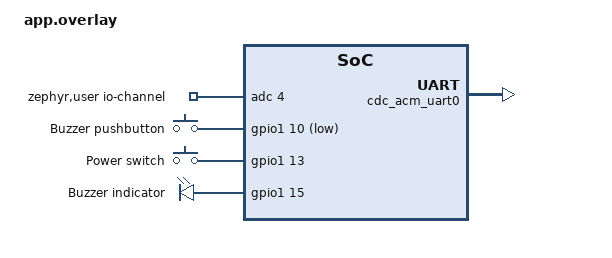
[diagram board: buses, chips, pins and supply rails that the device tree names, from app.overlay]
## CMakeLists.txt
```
# SPDX-License-Identifier: Apache-2.0

cmake_minimum_required(VERSION 3.20.0)
find_package(Zephyr REQUIRED HINTS $ENV{ZEPHYR_BASE})
project(firmware)

FILE(GLOB app_sources src/*.c)
target_sources(app PRIVATE ${app_sources})
```

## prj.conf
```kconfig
CONFIG_USB_DEVICE_STACK=y
CONFIG_USB_DEVICE_PRODUCT="Quizzer Buzzer"

CONFIG_SERIAL=y
CONFIG_CONSOLE=y
CONFIG_UART_CONSOLE=y
CONFIG_UART_LINE_CTRL=y

CONFIG_BT=y
CONFIG_BT_DEBUG_LOG=y
CONFIG_BT_SMP=y
CONFIG_BT_PERIPHERAL=y
CONFIG_BT_DIS=y
CONFIG_BT_DIS_PNP=n
CONFIG_BT_BAS=y
CONFIG_BT_HRS=y
CONFIG_BT_DEVICE_NAME="Quizzer Buzzer"
CONFIG_BT_DEVICE_APPEARANCE=833

CONFIG_ADC=y
```

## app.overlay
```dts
/*
 * Copyright (c) 2021 Nordic Semiconductor ASA
 *
 * SPDX-License-Identifier: Apache-2.0
 */

/ {
	chosen {
		zephyr,console = &cdc_acm_uart0;
	};
	zephyr,user {
		io-channels = <&adc 4>;
	 };
	buttons {
		compatible = "gpio-keys";
		button1: button_1 {
			gpios = <&gpio1 10 (GPIO_PULL_UP | GPIO_ACTIVE_LOW)>;
			label = "Buzzer pushbutton";
		};
		pwrsw0: pwrsw_0 {
			gpios = <&gpio1 13 0>;
			label = "Power switch";
		};
	};
	leds {
		compatible = "gpio-leds";
		led2_red: led_4 {
			gpios = <&gpio1 15 GPIO_ACTIVE_HIGH>;
			label = "Buzzer indicator";
		};
	};

	aliases {
		sw1 = &button1;
		psw0 = &pwrsw0;
		led1 = &led2_red;
	};

 };

&zephyr_udc0 {
	cdc_acm_uart0: cdc_acm_uart0 {
		compatible = "zephyr,cdc-acm-uart";
		label = "CDC_ACM_0";
	};
};
```

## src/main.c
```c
/*
 * Copyright (c) 2016 Intel Corporation.
 *
 * SPDX-License-Identifier: Apache-2.0
 */

#include "app.h"
#include "battery.h"

#include <usb/usb_device.h>
#include <drivers/uart.h>

BUILD_ASSERT(DT_NODE_HAS_COMPAT(DT_CHOSEN(zephyr_console), zephyr_cdc_acm_uart),
	     "Console device is not ACM CDC UART device");

void app_process();

void main(void)
{
	if (!pwr_init())
		NVIC_SystemReset();

#ifdef DEBUG
	if (usb_enable(NULL)) {
		return;
	}
	printk("[MAIN] USB initialized\n");

	// Wait for debug port to be opened
	const struct device *dev = DEVICE_DT_GET(DT_CHOSEN(zephyr_console));
	uint32_t dtr = 0;
	while (!dtr) {
		uart_line_ctrl_get(dev, UART_LINE_CTRL_DTR, &dtr);
		k_sleep(K_MSEC(100));
	}
#endif

	if (!ble_init())
		NVIC_SystemReset();
	if (!button_init())
		NVIC_SystemReset();
	if (!led_init())
		NVIC_SystemReset();
	if (!battery_init())
		NVIC_SystemReset();

	while (app_is_alive())
	{
		app_process();
		battery_process();
		led_process();

		// Get back to sleep for 100ms
		k_sleep(K_MSEC(100));
	}

	printk("[MAIN] Shutting down\n");
	led_set(false);
	if (!pwr_down())
		NVIC_SystemReset();

	// For non patched modules
	k_sleep(K_MSEC(5000));
}

static unsigned long app_timeout = KEEPALIVE_UNCONNECTED;
void app_reset_keep_alive(unsigned long timeout)
{
	app_timeout = timeout;
}

void app_process()
{
	static char prescaler = 10; // App tick is 100ms

	prescaler--;
	if (!prescaler) {
		prescaler = 10;
		if (app_timeout)
			app_timeout--;
	}
}

bool app_is_alive()
{
	return app_timeout != 0;
}
```

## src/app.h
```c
#include <zephyr.h>
#include <sys/printk.h>

// When you define this, program will wait for USB port to be opened early in firmware
//#define DEBUG

#define KEEPALIVE_UNCONNECTED   30      // 30 seconds
#define KEEPALIVE_CONNECTED     1800    // 30 minutes
void app_reset_keep_alive();
bool app_is_alive();

bool button_init(void);

bool ble_init(void);
bool ble_is_connected(void);
void ble_button_notify(void);
void ble_battery_notify(uint8_t centivolts);

#define BATTERY_SAMPLE_INTERVAL 300 // 30s
bool battery_init(void);
void battery_process(void);
int battery_sample(void); // Returns value in mV or negative value for errors

#define LED_BLINK_INTERVAL       5 // 500ms
#define LED_BLINK_CYCLES_DFLT    5 // 5 seconds total
bool led_init(void);
void led_set(bool on);
void led_activate(uint8_t cycles);
void led_process(void);

bool pwr_init(void);
bool pwr_down(void);
```

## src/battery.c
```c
/*
 * Copyright (c) 2018-2019 Peter Bigot Consulting, LLC
 * Copyright (c) 2019-2020 Nordic Semiconductor ASA
 *
 * SPDX-License-Identifier: Apache-2.0
 */

#include "app.h"
#include <math.h>
#include <stdio.h>
#include <stdlib.h>

#include <init.h>
#include <drivers/adc.h>

#define ZEPHYR_USER DT_PATH(zephyr_user)

#define BATTERY_ADC_GAIN ADC_GAIN_1_6

struct divider_data
{
	const struct device *adc;
	struct adc_channel_cfg adc_cfg;
	struct adc_sequence adc_seq;
	int16_t raw;
};
static struct divider_data divider_data =
{
	.adc = DEVICE_DT_GET(DT_IO_CHANNELS_CTLR(ZEPHYR_USER)),
};

static bool battery_inited = false;
static unsigned int battery_prescaler = 0;

bool battery_init(void)
{
	struct divider_data *ddp = &divider_data;
	struct adc_sequence *asp = &ddp->adc_seq;
	struct adc_channel_cfg *accp = &ddp->adc_cfg;

	if (!device_is_ready(ddp->adc))
	{
		printk("[BAT] ADC device is not ready\n");
		return -ENOENT;
	}

	*asp = (struct adc_sequence)
	{
		.channels = BIT(0),
		.buffer = &ddp->raw,
		.buffer_size = sizeof(ddp->raw),
		.oversampling = 4,
		.calibrate = true,
		.resolution = 14,
	};

	*accp = (struct adc_channel_cfg){
		.gain = BATTERY_ADC_GAIN,
		.reference = ADC_REF_INTERNAL,
		.acquisition_time = ADC_ACQ_TIME(ADC_ACQ_TIME_MICROSECONDS, 40),
		.input_positive = SAADC_CH_PSELP_PSELP_VDD,
	};

	if (adc_channel_setup(ddp->adc, accp))
	{
		printk("[BAT] ADC setup failed\n");
		return false;
	}
	battery_inited = true;
	printk("[BAT] Battery measurement initialized\n");
	return true;
}

int battery_sample(void)
{
	int rc = -ENOENT;

	if (battery_inited)
	{
		struct divider_data *ddp = &divider_data;
		struct adc_sequence *sp = &ddp->adc_seq;

		rc = adc_read(ddp->adc, sp);
		sp->calibrate = false;
		if (rc == 0) {
			int32_t val = ddp->raw;

			adc_raw_to_millivolts(adc_ref_internal(ddp->adc),
					      ddp->adc_cfg.gain,
					      sp->resolution,
					      &val);

			rc = val;
		}
	}

	return rc;
}

void battery_process(void)
{
	int batt_mV;
	uint8_t batt_cV;

	if (!battery_prescaler)
	{
		battery_prescaler = BATTERY_SAMPLE_INTERVAL;
		// Sample battery voltage
		batt_mV = battery_sample();
		if (batt_mV > 0)
		{
			batt_cV = (uint8_t)(batt_mV / 100);
			ble_battery_notify(batt_cV);
		}
		else
			printk("Failed to read battery voltage: %d\n", batt_mV);
	}
	battery_prescaler--;
}
```

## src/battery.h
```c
/*
 * Copyright (c) 2018-2019 Peter Bigot Consulting, LLC
 *
 * SPDX-License-Identifier: Apache-2.0
 */

#ifndef APPLICATION_BATTERY_H_
#define APPLICATION_BATTERY_H_

bool battery_setup(void);

/** Enable or disable measurement of the battery voltage.
 *
 * @param enable true to enable, false to disable
 *
 * @return zero on success, or a negative error code.
 */
int battery_measure_enable(bool enable);

/** Measure the battery voltage.
 *
 * @return the battery voltage in millivolts, or a negative error
 * code.
 */
int battery_sample(void);

/** A point in a battery discharge curve sequence.
 *
 * A discharge curve is defined as a sequence of these points, where
 * the first point has #lvl_pptt set to 10000 and the last point has
 * #lvl_pptt set to zero.  Both #lvl_pptt and #lvl_mV should be
 * monotonic decreasing within the sequence.
 */
struct battery_level_point {
	/** Remaining life at #lvl_mV. */
	uint16_t lvl_pptt;

	/** Battery voltage at #lvl_pptt remaining life. */
	uint16_t lvl_mV;
};

/** Calculate the estimated battery level based on a measured voltage.
 *
 * @param batt_mV a measured battery voltage level.
 *
 * @param curve the discharge curve for the type of battery installed
 * on the system.
 *
 * @return the estimated remaining capacity in parts per ten
 * thousand.
 */
unsigned int battery_level_pptt(unsigned int batt_mV,
				const struct battery_level_point *curve);

#endif /* APPLICATION_BATTERY_H_ */
```

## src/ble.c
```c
#include "app.h"

#include <sys/byteorder.h>

#include <bluetooth/bluetooth.h>
#include <bluetooth/hci.h>
#include <bluetooth/hci_vs.h>
#include <bluetooth/conn.h>
#include <bluetooth/uuid.h>
#include <bluetooth/gatt.h>
#include <bluetooth/services/bas.h>

static struct bt_conn *default_conn = NULL;
static uint16_t default_conn_handle;
static void get_tx_power(uint8_t handle_type, uint16_t handle, int8_t *tx_pwr_lvl);
static void set_tx_power(uint8_t handle_type, uint16_t handle, int8_t tx_pwr_lvl);

#define MYBT_UUID_BTN_VAL			0x4242 // Custom service ID
#define MYBT_UUID_BUTTON_PRESSED	0x4243 // Custom characteristic ID
#define MYBT_UUID_LED_ACTIVATE		0x4244 // Custom characteristic ID

static const struct bt_data ad[] = {
	BT_DATA_BYTES(BT_DATA_FLAGS, (BT_LE_AD_GENERAL | BT_LE_AD_NO_BREDR)),
	BT_DATA_BYTES(BT_DATA_UUID16_ALL,
		      BT_UUID_16_ENCODE(MYBT_UUID_BTN_VAL),
		      BT_UUID_16_ENCODE(BT_UUID_BAS_VAL)
			  )
};

static bool ble_button_notify_enabled = false;
static void ble_button_ccc_cfg_changed(const struct bt_gatt_attr *attr,
				       uint16_t value)
{
	ARG_UNUSED(attr);
	ble_button_notify_enabled = (value == BT_GATT_CCC_NOTIFY);
	printk("[BLE] Button notifications %s\n", ble_button_notify_enabled ? "enabled" : "disabled");
}

static ssize_t ble_button_read_level(struct bt_conn *conn,
			       const struct bt_gatt_attr *attr, void *buf,
			       uint16_t len, uint16_t offset)
{
	printk("[BLE] Button level was read\n");
	return bt_gatt_attr_read(conn, attr, buf, len, offset, NULL, 0);
}

ssize_t ble_led_activate(struct bt_conn *conn,
			       const struct bt_gatt_attr *attr, const void *buf,
			       uint16_t len, uint16_t offset, uint8_t flags)
{
	printk("[BLE] Led was activated\n");
	if (len < 1)
		led_activate(LED_BLINK_CYCLES_DFLT);
	else
	{
		unsigned char *val = (unsigned char *)buf;
		led_activate(val[0]);
	}
	return len;
}

BT_GATT_SERVICE_DEFINE(ble_button_svc,
	BT_GATT_PRIMARY_SERVICE(BT_UUID_DECLARE_16(MYBT_UUID_BTN_VAL)),
	BT_GATT_CHARACTERISTIC(BT_UUID_DECLARE_16(MYBT_UUID_BUTTON_PRESSED),
			       BT_GATT_CHRC_READ | BT_GATT_CHRC_NOTIFY,
			       BT_GATT_PERM_READ, ble_button_read_level, NULL,
			       NULL),
	BT_GATT_CCC(ble_button_ccc_cfg_changed,
		    BT_GATT_PERM_READ | BT_GATT_PERM_WRITE),
	BT_GATT_CHARACTERISTIC(BT_UUID_DECLARE_16(MYBT_UUID_LED_ACTIVATE),
			       BT_GATT_CHRC_WRITE | BT_GATT_CHRC_WRITE_WITHOUT_RESP,
			       BT_GATT_PERM_WRITE, NULL, ble_led_activate,
			       NULL),
);

void ble_button_notify()
{
	int rc;
	if (ble_button_notify_enabled) {
		printk("[BLE] Notifying new button value\n");
		rc = bt_gatt_notify(NULL, &ble_button_svc.attrs[1], NULL, 0);
		if (rc && rc != -ENOTCONN)
			printk("[BLE] Failed to send button status notification\n");
	}
}

// Simulate battery values
void ble_battery_notify(uint8_t centivolts)
{
	bt_bas_set_battery_level(centivolts);
}

// Catch connect/disconnect events
static bool _ble_is_connected = false;
bool ble_is_connected(void)
{
	return _ble_is_connected;
}
void ble_connected(struct bt_conn *conn, uint8_t err)
{
	int8_t txp;
	
	if (err)
		return;

	app_reset_keep_alive(KEEPALIVE_CONNECTED); // Reset keepalive timeout
	printk("[BLE] Connected!\n");
	_ble_is_connected = true;

	default_conn = bt_conn_ref(conn);
	int ret = bt_hci_get_conn_handle(default_conn, &default_conn_handle);
	if (ret) {
		printk("No connection handle (err %d)\n", ret);
	} else {
		/* Send first at the default selected power */
		get_tx_power(BT_HCI_VS_LL_HANDLE_TYPE_CONN, default_conn_handle, &txp);
		printk("Connection (%d) - Initial Tx Power = %d\n", default_conn_handle, txp);
		set_tx_power(BT_HCI_VS_LL_HANDLE_TYPE_CONN, default_conn_handle, 8);
		get_tx_power(BT_HCI_VS_LL_HANDLE_TYPE_CONN, default_conn_handle, &txp);
		printk("Connection (%d) - Tx Power = %d\n", default_conn_handle, txp);
	}
}
void ble_disconnected(struct bt_conn *conn, uint8_t reason)
{
	app_reset_keep_alive(KEEPALIVE_UNCONNECTED); // Reset keepalive timeout
	printk("[BLE] Disconnected!\n");
	_ble_is_connected = false;
}

static struct bt_conn_cb ble_conn_cb = {
	.connected = ble_connected,
	.disconnected = ble_disconnected
};

bool ble_init()
{
    int err;
    
	err = bt_enable(NULL);
	if (err) {
		printk("[BLE] Bluetooth init failed (err %d)\n", err);
		return false;
	}

	printk("[BLE] Bluetooth initialized\n");

	bt_conn_cb_register(&ble_conn_cb);

	err = bt_le_adv_start(BT_LE_ADV_CONN_NAME, ad, ARRAY_SIZE(ad), NULL, 0);
	if (err) {
		printk("[BLE] Advertising failed to start (err %d)\n", err);
		return false;
	}

	printk("[BLE] Advertising successfully started\n");

    return true;
}

static void set_tx_power(uint8_t handle_type, uint16_t handle, int8_t tx_pwr_lvl)
{
	struct bt_hci_cp_vs_write_tx_power_level *cp;
	struct bt_hci_rp_vs_write_tx_power_level *rp;
	struct net_buf *buf, *rsp = NULL;
	int err;

	buf = bt_hci_cmd_create(BT_HCI_OP_VS_WRITE_TX_POWER_LEVEL, sizeof(*cp));
	if (!buf) {
		printk("Unable to allocate command buffer\n");
		return;
	}

	cp = net_buf_add(buf, sizeof(*cp));
	cp->handle = sys_cpu_to_le16(handle);
	cp->handle_type = handle_type;
	cp->tx_power_level = tx_pwr_lvl;

	err = bt_hci_cmd_send_sync(BT_HCI_OP_VS_WRITE_TX_POWER_LEVEL, buf, &rsp);
	if (err) {
		uint8_t reason = rsp ?
			((struct bt_hci_rp_vs_write_tx_power_level *)
			  rsp->data)->status : 0;
		printk("Set Tx power err: %d reason 0x%02x\n", err, reason);
		return;
	}

	rp = (void *)rsp->data;
	printk("Actual Tx Power: %d\n", rp->selected_tx_power);

	net_buf_unref(rsp);
}

static void get_tx_power(uint8_t handle_type, uint16_t handle, int8_t *tx_pwr_lvl)
{
	struct bt_hci_cp_vs_read_tx_power_level *cp;
	struct bt_hci_rp_vs_read_tx_power_level *rp;
	struct net_buf *buf, *rsp = NULL;
	int err;

	*tx_pwr_lvl = 0xFF;
	buf = bt_hci_cmd_create(BT_HCI_OP_VS_READ_TX_POWER_LEVEL, sizeof(*cp));
	if (!buf) {
		printk("Unable to allocate command buffer\n");
		return;
	}

	cp = net_buf_add(buf, sizeof(*cp));
	cp->handle = sys_cpu_to_le16(handle);
	cp->handle_type = handle_type;

	err = bt_hci_cmd_send_sync(BT_HCI_OP_VS_READ_TX_POWER_LEVEL, buf, &rsp);
	if (err) {
		uint8_t reason = rsp ?
			((struct bt_hci_rp_vs_read_tx_power_level *)
			  rsp->data)->status : 0;
		printk("Read Tx power err: %d reason 0x%02x\n", err, reason);
		return;
	}

	rp = (void *)rsp->data;
	*tx_pwr_lvl = rp->tx_power_level;

	net_buf_unref(rsp);
}
```

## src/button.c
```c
#include "app.h"
#include <drivers/gpio.h>

/*
 * Get button configuration from the devicetree sw0 alias. This is mandatory.
 */
#define SW0_NODE	DT_ALIAS(sw0)	// This is the embedded pushbutton
#define SW1_NODE	DT_ALIAS(sw1)	// This is the buzzer wired on P1.00
#if !DT_NODE_HAS_STATUS(SW0_NODE, okay)
#error "Unsupported board: sw0 devicetree alias is not defined"
#endif
#if !DT_NODE_HAS_STATUS(SW1_NODE, okay)
#error "Unsupported board: sw1 devicetree alias is not defined"
#endif
static const struct gpio_dt_spec button0 = GPIO_DT_SPEC_GET_OR(SW0_NODE, gpios, {0});
static const struct gpio_dt_spec button1 = GPIO_DT_SPEC_GET_OR(SW1_NODE, gpios, {0});
static struct gpio_callback button0_cb_data;
static struct gpio_callback button1_cb_data;

void ble_button_notify();
void button_pressed(const struct device *dev, struct gpio_callback *cb, uint32_t pins)
{
	printk("[BTN] Button pressed\n");
	app_reset_keep_alive(KEEPALIVE_CONNECTED); // Reset keepalive timeout
	ble_button_notify();
}

bool button_init()
{
	int ret;

	if (!device_is_ready(button0.port)) {
		printk("[BTN] Error: button device %s is not ready\n", button0.port->name);
		return false;
	}
	if (!device_is_ready(button1.port)) {
		printk("[BTN] Error: button device %s is not ready\n", button1.port->name);
		return false;
	}

	ret = gpio_pin_configure_dt(&button0, GPIO_INPUT);
	if (ret != 0) {
		printk("[BTN] Error %d: failed to configure %s pin %d\n", ret, button0.port->name, button0.pin);
		return false;
	}
	ret = gpio_pin_configure_dt(&button1, GPIO_INPUT);
	if (ret != 0) {
		printk("[BTN] Error %d: failed to configure %s pin %d\n", ret, button1.port->name, button1.pin);
		return false;
	}

	ret = gpio_pin_interrupt_configure_dt(&button0, GPIO_INT_EDGE_TO_ACTIVE);
	if (ret != 0) {
		printk("[BTN] Error %d: failed to configure interrupt on %s pin %d\n", ret, button0.port->name, button0.pin);
		return false;
	}
	ret = gpio_pin_interrupt_configure_dt(&button1, GPIO_INT_EDGE_TO_ACTIVE);
	if (ret != 0) {
		printk("[BTN] Error %d: failed to configure interrupt on %s pin %d\n", ret, button1.port->name, button1.pin);
		return false;
	}

	gpio_init_callback(&button0_cb_data, button_pressed, BIT(button0.pin));
	gpio_init_callback(&button1_cb_data, button_pressed, BIT(button1.pin));
	gpio_add_callback(button0.port, &button0_cb_data);
	gpio_add_callback(button1.port, &button1_cb_data);
	printk("[BTN] Set up button at %s pin %d\n", button0.port->name, button0.pin);
	printk("[BTN] Set up button at %s pin %d\n", button1.port->name, button1.pin);
    return true;
}
```

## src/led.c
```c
#include "app.h"
#include <drivers/gpio.h>

/* This is the embedded LED. */
#define LED0_NODE DT_ALIAS(led0)
#define LED0	    DT_GPIO_LABEL(LED0_NODE, gpios)
#define LED0_PIN	DT_GPIO_PIN(LED0_NODE, gpios)
#define LED0_FLAGS	DT_GPIO_FLAGS(LED0_NODE, gpios)
static const struct device *led0_dev;

/* This is the buzzer indicator LED. */
#define LED1_NODE DT_ALIAS(led1)
#define LED1	    DT_GPIO_LABEL(LED1_NODE, gpios)
#define LED1_PIN	DT_GPIO_PIN(LED1_NODE, gpios)
#define LED1_FLAGS	DT_GPIO_FLAGS(LED1_NODE, gpios)
static const struct device *led1_dev;

static unsigned int led_prescaler = 0;
static unsigned int led_blink_counter = 0;
static bool led_on = false;

bool led_init(void)
{
	int ret;

    // LED0
	led0_dev = device_get_binding(LED0);
	if (led0_dev == NULL) {
        printk("[LED] Led 0 not found\n");
		return false;
	}
	ret = gpio_pin_configure(led0_dev, LED0_PIN, GPIO_OUTPUT_ACTIVE | LED0_FLAGS);
	if (ret < 0) {
        printk("[LED] Can't configure led 0\n");
		return false;
	}
    gpio_pin_set(led0_dev, LED0_PIN, 0); // Inverted logic is handled at driver level
    printk("[LED] Configured Led 0\n");
    
    // LED1
	led1_dev = device_get_binding(LED1);
	if (led1_dev == NULL) {
        printk("[LED] Led 1 not found\n");
		return false;
	}
	ret = gpio_pin_configure(led1_dev, LED1_PIN, GPIO_OUTPUT_ACTIVE | LED1_FLAGS);
	if (ret < 0) {
        printk("[LED] Can't configure led 1\n");
		return false;
	}
    gpio_pin_set(led1_dev, LED1_PIN, 0);
    printk("[LED] Configured Led 1\n");

    return true;
}

void led_set(bool on)
{
    gpio_pin_set(led0_dev, LED0_PIN, on ? 1 : 0); // Inverted logic is handled at driver level
    gpio_pin_set(led1_dev, LED1_PIN, on ? 1 : 0);
    led_on = on;
}

void led_activate(unsigned char cycles)
{
    // Switch off instantly
    if (!cycles) {
        led_set(false);
        led_blink_counter = 0; // Stop the blinking process
    }
    // Switch on without blinking
    else if (cycles == 0xFF) {
        led_set(true);
        led_blink_counter = 0; // Stop the blinking process
    }
    // For all other values, start blinking the required time
    else {
        led_prescaler = 0; // Trigger led blinking instantly
        led_blink_counter = cycles * 2; // Let led blink
    }
}

void led_process(void)
{
    // Blink quickly while BLE is not yet paired
    if (!ble_is_connected()) {
        led_set(!led_on);
    }
    // Perform what Quizzer app told us to do
    else  {
        if (!led_prescaler) {
            led_prescaler = LED_BLINK_INTERVAL;

            if (led_blink_counter) {
                printk("LED BlINK %s\n", led_on ? "on" : "off");
                led_blink_counter--;
                led_set(!led_on);
            }
        }
        led_prescaler--;
    }
}
```

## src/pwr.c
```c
#include "app.h"
#include <drivers/gpio.h>

/*
 * Get power switch configuration from the devicetree psw0 alias. This is mandatory.
 */
#define PSW0_NODE	DT_ALIAS(psw0)
#if !DT_NODE_HAS_STATUS(PSW0_NODE, okay)
#error "Unsupported board: psw0 devicetree alias is not defined"
#endif
static const struct gpio_dt_spec psw0 = GPIO_DT_SPEC_GET_OR(PSW0_NODE, gpios, {0});

bool pwr_init(void)
{
	int ret;

	if (!device_is_ready(psw0.port)) {
		printk("[PWR] Error: button device %s is not ready\n", psw0.port->name);
		return false;
	}

	ret = gpio_pin_configure_dt(&psw0, GPIO_OUTPUT);
	if (ret != 0) {
		printk("[PWR] Error %d: failed to configure %s pin %d\n", ret, psw0.port->name, psw0.pin);
		return false;
	}
    ret = gpio_pin_set(psw0.port, psw0.pin, GPIO_OUTPUT_HIGH);
	if (ret != 0) {
		printk("[PWR] Error %d: failed to output high on %s pin %d\n", ret, psw0.port->name, psw0.pin);
		return false;
	}

	printk("[PWR] Set up power switch at %s pin %d\n", psw0.port->name, psw0.pin);
    return true;
}

bool pwr_down()
{
    int ret = gpio_pin_configure_dt(&psw0, GPIO_INPUT);
    if (ret != 0) {
		printk("[PWR] Error %d: failed to output LOW on %s pin %d\n", ret, psw0.port->name, psw0.pin);
		return false;
	}
    return true;
}
```
